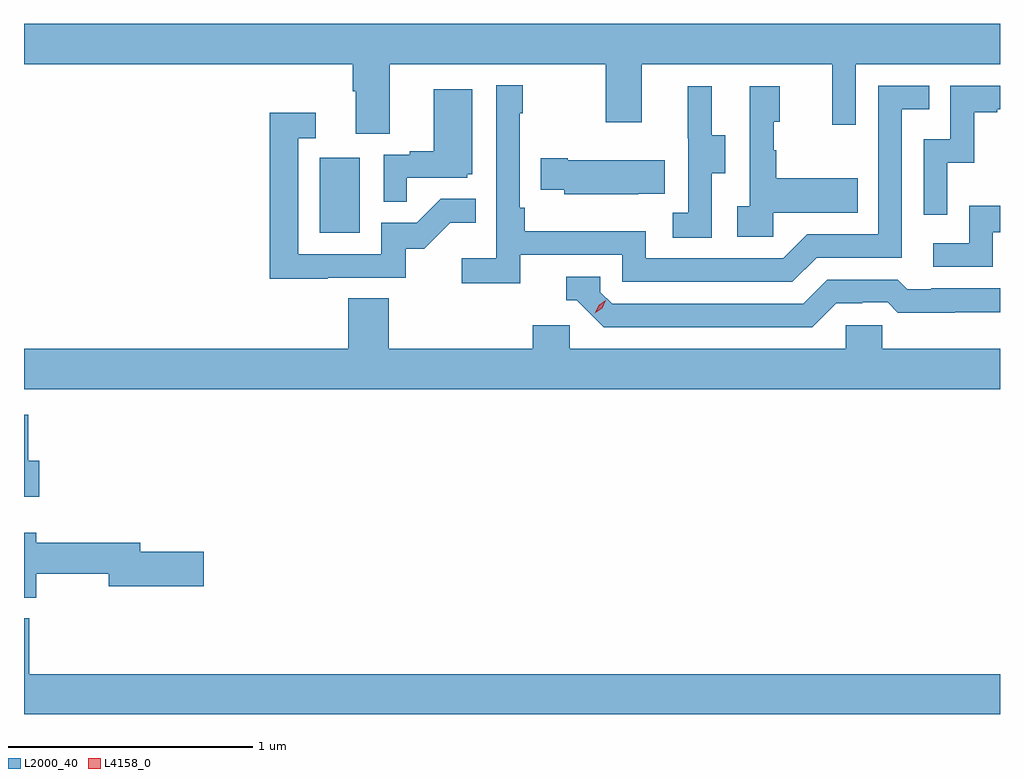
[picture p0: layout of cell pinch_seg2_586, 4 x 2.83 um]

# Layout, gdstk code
import gdstk
lib = gdstk.Library(unit=1e-6, precision=1e-09)
def R(c, l, rs):  # rectangles x0, y0, x1, y1
    for r in rs: c.add(gdstk.rectangle(r[:2], r[2:], *l))
def P(c, l, *ps):  # polygons
    for p in ps: c.add(gdstk.Polygon(p, *l))
L2000_40 = (2000, 40)
L4158_0 = (4158, 0)

pinch_seg2_586 = lib.new_cell('pinch_seg2_586')
R(pinch_seg2_586, L2000_40, [(1067.528,621.636,1067.692,621.943)])
P(pinch_seg2_586, L2000_40, [(1066.316,622.328),(1067.663,622.328),(1067.663,622.216),(1067.675,622.216),(1067.675,622.042),(1067.815,622.042),(1067.815,622.328),(1068.7,622.328),(1068.7,622.089),(1068.847,622.089),(1068.847,622.328),(1069.628,622.328),(1069.628,622.08),(1069.725,622.08),(1069.725,622.328),(1070.316,622.328),(1070.316,622.492),(1066.316,622.492)],
  [(1068.35,621.546),(1068.768,621.546),(1068.768,621.435),(1069.465,621.435),(1069.564,621.534),(1069.914,621.534),(1069.914,622.143),(1070.027,622.143),(1070.027,622.239),(1069.818,622.239),(1069.818,621.63),(1069.527,621.63),(1069.428,621.531),(1068.864,621.531),(1068.864,621.643),(1068.368,621.643),(1068.368,621.739),(1068.348,621.739),(1068.348,622.127),(1068.361,622.127),(1068.361,622.24),(1068.252,622.24),(1068.252,621.532),(1068.111,621.532),(1068.111,621.43),(1068.35,621.43)],
  [(1070.1,621.923),(1070.21,621.923),(1070.21,622.131),(1070.305,622.131),(1070.305,622.143),(1070.316,622.143),(1070.316,622.239),(1070.112,622.239),(1070.112,622.02),(1070.004,622.02),(1070.004,621.711),(1070.1,621.711)],
  [(1069.386,621.719),(1069.733,621.719),(1069.733,621.859),(1069.399,621.859),(1069.399,621.974),(1069.389,621.974),(1069.389,622.092),(1069.414,622.092),(1069.414,622.237),(1069.29,622.237),(1069.29,621.746),(1069.239,621.746),(1069.239,621.621),(1069.386,621.621)],
  [(1069.134,621.88),(1069.189,621.88),(1069.189,622.035),(1069.135,622.035),(1069.135,622.237),(1069.037,622.237),(1069.037,622.023),(1069.038,622.023),(1069.038,621.719),(1068.975,621.719),(1068.975,621.616),(1069.134,621.616)],
  [(1067.885,621.861),(1068.132,621.861),(1068.132,621.876),(1068.154,621.876),(1068.154,622.225),(1067.996,622.225),(1067.996,621.97),(1067.897,621.97),(1067.897,621.957),(1067.79,621.957),(1067.79,621.763),(1067.885,621.763)],
  [(1067.561,621.453),(1067.88,621.453),(1067.88,621.57),(1067.956,621.57),(1068.063,621.677),(1068.167,621.677),(1068.167,621.776),(1068.023,621.776),(1067.925,621.678),(1067.781,621.678),(1067.781,621.549),(1067.439,621.549),(1067.439,622.023),(1067.512,622.023),(1067.512,622.129),(1067.323,622.129),(1067.323,621.448),(1067.561,621.448)],
  [(1068.833,621.797),(1068.941,621.797),(1068.941,621.934),(1068.544,621.934),(1068.544,621.942),(1068.433,621.942),(1068.433,621.812),(1068.531,621.812),(1068.531,621.794),(1068.833,621.794)],
  [(1070.286,621.639),(1070.316,621.639),(1070.316,621.748),(1070.19,621.748),(1070.19,621.594),(1070.043,621.594),(1070.043,621.498),(1070.286,621.498)],
  [(1069.645,621.348),(1069.752,621.348),(1069.752,621.351),(1069.855,621.351),(1069.897,621.309),(1070.13,621.309),(1070.13,621.311),(1070.316,621.311),(1070.316,621.408),(1070.035,621.408),(1070.035,621.405),(1069.936,621.405),(1069.897,621.444),(1069.608,621.444),(1069.509,621.345),(1068.726,621.345),(1068.678,621.393),(1068.678,621.456),(1068.539,621.456),(1068.539,621.36),(1068.582,621.36),(1068.693,621.249),(1069.546,621.249)],
  [(1070.316,621.16),(1069.833,621.16),(1069.833,621.258),(1069.683,621.258),(1069.683,621.16),(1068.552,621.16),(1068.552,621.258),(1068.401,621.258),(1068.401,621.16),(1067.81,621.16),(1067.81,621.368),(1067.645,621.368),(1067.645,621.16),(1066.316,621.16),(1066.316,620.996),(1070.316,620.996)],
  [(1066.378,620.703),(1066.334,620.703),(1066.334,620.89),(1066.316,620.89),(1066.316,620.555),(1066.378,620.555)],
  [(1066.366,620.238),(1066.664,620.238),(1066.664,620.188),(1067.053,620.188),(1067.053,620.33),(1066.792,620.33),(1066.792,620.366),(1066.366,620.366),(1066.366,620.407),(1066.316,620.407),(1066.316,620.141),(1066.366,620.141)],
  [(1070.316,619.828),(1066.337,619.828),(1066.337,620.056),(1066.316,620.056),(1066.316,619.664),(1070.316,619.664)])
P(pinch_seg2_586, L4158_0, [(1068.655,621.307),(1068.655,621.307),(1068.671,621.34),(1068.701,621.36),(1068.701,621.36),(1068.701,621.359),(1068.686,621.326),(1068.656,621.307)])

lib.write_gds('pinch_seg2_586.gds')
